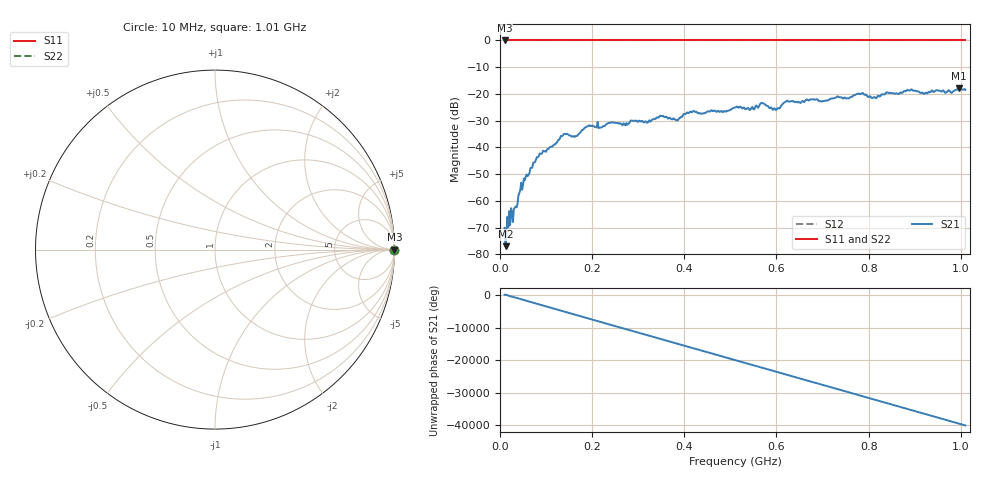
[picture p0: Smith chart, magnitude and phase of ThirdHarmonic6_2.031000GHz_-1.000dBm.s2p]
! 8/17/2025 12:22:19 AM
! C:\ANRITSUVNA\TEMP\TEMP.S2P
! CHANNEL.1
! TR.MEASUREMENT
! RAW.DATA
! RF.CORRECTION.OFF
! AVERAGING.OFF
! IF.BANDWIDTH: 5KHZ
! SWEEPTYPE:  FREQ.SWEEP(Linear)
! Reference Plane Port Info
! PORT:  PORT1  PORT2
! DISTANCE:  0  m  0  m
! TIME:  0  s  0  s
! PHASE.OFFSET:  0  deg.  0  deg.
! LOSS:  0  dB  0  dB
! REF.LOSS:  0  dB  0  dB
! REF.FREQ:  0  Hz  0  Hz
! Power Info
! POWER:  -20  dBm  -20  dBm
! EFF.POWER:  -20  dBm  -20  dBm
! SOURCE.ATTEN:  0  dB  0  dB
! TEST.ATTEN:  0  dB  0  dB
# GHZ S RI R 50.0
! FREQ.GHZ  S11RE  S11IM  S21RE  S21IM  S12RE  S12IM  S22RE  S22IM
!; PortSelection: Port_12
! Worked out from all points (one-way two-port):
!   501 points, 10 MHz to 1.01 GHz, reference 50 ohm
!   highest |S21| = -17.73 dB at 996 MHz (marker M1); lowest = -76.9 dB at 12 MHz (marker M2)
!   lowest |S11| = 0.0 dB at 10 MHz (marker M3)
!   |S11| at or under -10 dB: nowhere
!   |S22| runs from 0.0 to 0.0 dB; largest |S21 - S12| = 1.1
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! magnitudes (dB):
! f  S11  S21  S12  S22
! 10 MHz  0.0  -70.1  0.0  0.0
! 12 MHz  0.0  -76.9  0.0  0.0
! 20 MHz  0.0  -63.8  0.0  0.0
! 32 MHz  0.0  -62.5  0.0  0.0
! 48 MHz  0.0  -55.8  0.0  0.0
! 82 MHz  0.0  -43.6  0.0  0.0
! 136 MHz  0.0  -35.6  0.0  0.0
! 164 MHz  0.0  -35.8  0.0  0.0
! 178 MHz  0.0  -33.5  0.0  0.0
! 344 MHz  0.0  -28.9  0.0  0.0
! 384 MHz  0.0  -29.9  0.0  0.0
! 416 MHz  0.0  -26.9  0.0  0.0
! 510 MHz  0.0  -25.1  0.0  0.0
! 570 MHz  0.0  -23.5  0.0  0.0
! 596 MHz  0.0  -25.4  0.0  0.0
! 622 MHz  0.0  -22.6  0.0  0.0
! 678 MHz  0.0  -22.1  0.0  0.0
! 784 MHz  0.0  -20.0  0.0  0.0
! 812 MHz  0.0  -21.2  0.0  0.0
! 844 MHz  0.0  -19.7  0.0  0.0
! 996 MHz  0.0  -17.7  0.0  0.0
! 1.01 GHz  0.0  -18.5  0.0  0.0
